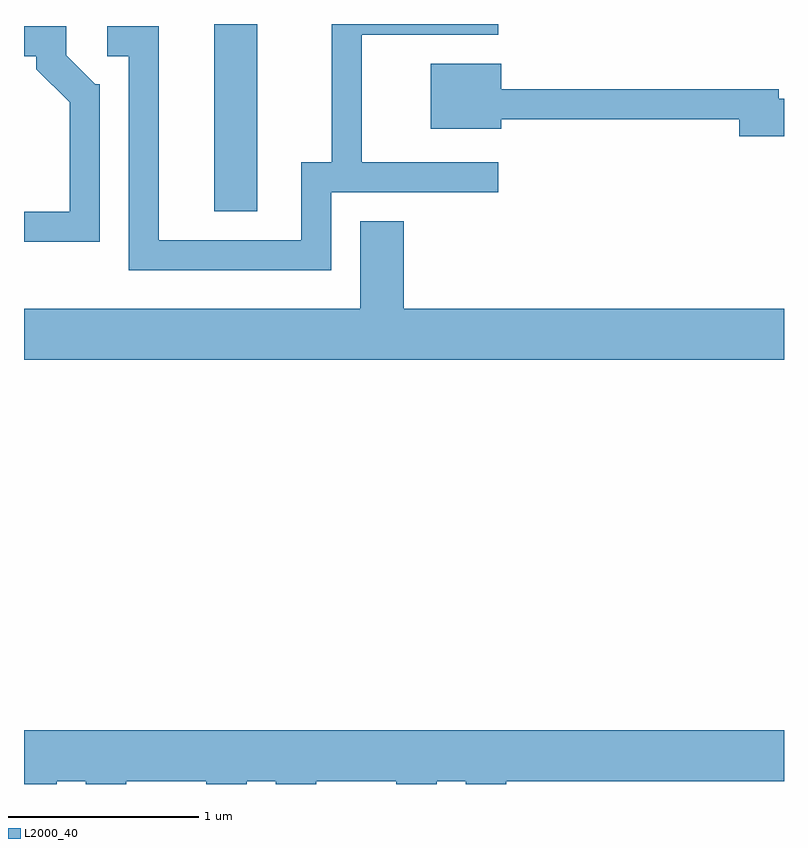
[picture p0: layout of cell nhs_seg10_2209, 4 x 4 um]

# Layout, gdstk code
import gdstk
lib = gdstk.Library(unit=1e-6, precision=1e-09)
def R(c, l, rs):  # rectangles x0, y0, x1, y1
    for r in rs: c.add(gdstk.rectangle(r[:2], r[2:], *l))
def P(c, l, *ps):  # polygons
    for p in ps: c.add(gdstk.Polygon(p, *l))
L2000_40 = (2000, 40)

nhs_seg10_2209 = lib.new_cell('nhs_seg10_2209')
R(nhs_seg10_2209, L2000_40, [(250.611,2163.536,250.839,2164.522)])
P(nhs_seg10_2209, L2000_40, [(251.229,2163.636),(252.108,2163.636),(252.108,2163.794),(251.389,2163.794),(251.389,2164.466),(252.108,2164.466),(252.108,2164.522),(251.231,2164.522),(251.231,2163.794),(251.071,2163.794),(251.071,2163.384),(250.319,2163.384),(250.319,2164.509),(250.048,2164.509),(250.048,2164.351),(250.161,2164.351),(250.161,2163.226),(251.229,2163.226)],
  [(250.009,2164.204),(249.987,2164.204),(249.834,2164.357),(249.834,2164.509),(249.611,2164.509),(249.611,2164.351),(249.676,2164.351),(249.676,2164.284),(249.851,2164.109),(249.851,2163.534),(249.611,2163.534),(249.611,2163.376),(250.009,2163.376)],
  [(253.611,2164.129),(253.584,2164.129),(253.584,2164.179),(252.124,2164.179),(252.124,2164.314),(251.751,2164.314),(251.751,2163.971),(252.124,2163.971),(252.124,2164.021),(253.376,2164.021),(253.376,2163.931),(253.611,2163.931)],
  [(253.611,2163.024),(251.609,2163.024),(251.609,2163.484),(251.381,2163.484),(251.381,2163.024),(249.611,2163.024),(249.611,2162.756),(253.611,2162.756)],
  [(249.784,2160.536),(249.936,2160.536),(249.936,2160.522),(250.149,2160.522),(250.149,2160.536),(250.571,2160.536),(250.571,2160.522),(250.784,2160.522),(250.784,2160.536),(250.936,2160.536),(250.936,2160.522),(251.149,2160.522),(251.149,2160.536),(251.571,2160.536),(251.571,2160.522),(251.784,2160.522),(251.784,2160.536),(251.936,2160.536),(251.936,2160.522),(252.149,2160.522),(252.149,2160.536),(253.611,2160.536),(253.611,2160.804),(249.611,2160.804),(249.611,2160.522),(249.784,2160.522)])

lib.write_gds('nhs_seg10_2209.gds')
